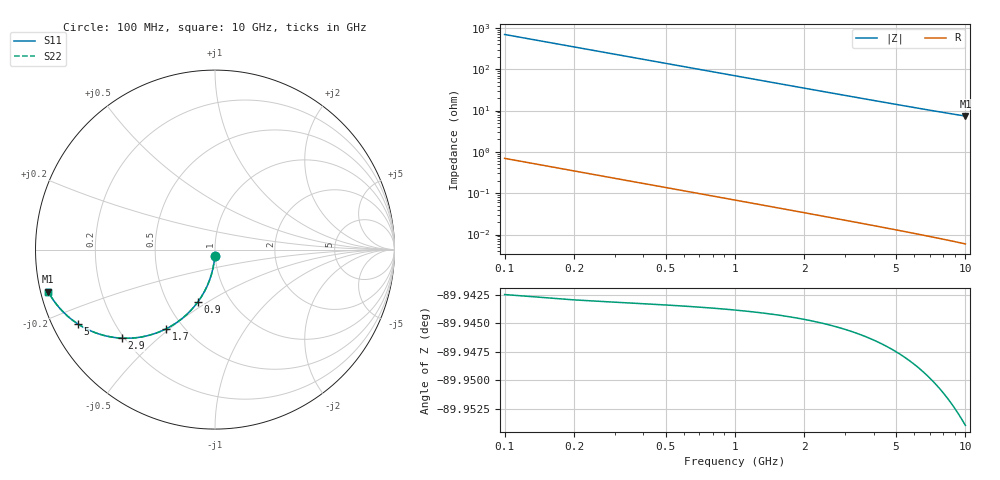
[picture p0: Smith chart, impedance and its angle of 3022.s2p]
# Hz S RI R 50.00
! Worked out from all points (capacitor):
!   100 points, 100 MHz to 10 GHz, reference 50 ohm
!   read as one part in shunt: C = 2.29 pF near 100 MHz
!   lowest |Z| = 7.36 ohm at 10 GHz (marker M1)
!   S11 on the Smith chart (normalised r, x): 100 MHz: 0.99, -0.07; 900 MHz: 0.71, -0.45; 1.7 GHz: 0.40, -0.49; 2.9 GHz: 0.19, -0.39; 5 GHz: 0.07, -0.25; 10 GHz: 0.02, -0.12
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1e8  -0.00128 -0.0357  0.9986 -0.0361  0.9986 -0.0361  -0.00128 -0.0357
2e8  -0.00516 -0.0711  0.9947 -0.0719  0.9947 -0.0719  -0.00516 -0.0711
3e8  -0.0116 -0.106  0.9884 -0.1072  0.9884 -0.1072  -0.0116 -0.106
4e8  -0.0203 -0.1401  0.9796 -0.1416  0.9796 -0.1416  -0.0203 -0.1401
5e8  -0.0314 -0.1731  0.9685 -0.175  0.9685 -0.175  -0.0314 -0.1731
6e8  -0.0446 -0.2048  0.9553 -0.2072  0.9553 -0.2072  -0.0446 -0.2048
7e8  -0.0597 -0.2351  0.9402 -0.2379  0.9402 -0.2379  -0.0597 -0.2351
9e8  -0.0949 -0.2909  0.905 -0.2944  0.905 -0.2944  -0.0949 -0.2909
1.1e9  -0.1354 -0.3395  0.8645 -0.3438  0.8645 -0.3438  -0.1354 -0.3395
1.3e9  -0.1794 -0.3807  0.8205 -0.3858  0.8205 -0.3858  -0.1794 -0.3807
1.7e9  -0.272 -0.4412  0.7279 -0.4479  0.7279 -0.4479  -0.272 -0.4412
1.8e9  -0.2952 -0.4521  0.7047 -0.4592  0.7047 -0.4592  -0.2952 -0.4521
2.3e9  -0.406 -0.4861  0.5938 -0.4951  0.5938 -0.4951  -0.406 -0.4861
2.9e9  -0.5207 -0.4933  0.4791 -0.5048  0.4791 -0.5048  -0.5207 -0.4933
3.4e9  -0.599 -0.4828  0.4008 -0.4963  0.4008 -0.4963  -0.599 -0.4828
4.2e9  -0.6952 -0.4514  0.3045 -0.4681  0.3045 -0.4681  -0.6952 -0.4514
5e9  -0.764 -0.414  0.2357 -0.434  0.2357 -0.434  -0.764 -0.414
5.1e9  -0.7711 -0.4093  0.2286 -0.4297  0.2286 -0.4297  -0.7711 -0.4093
5.9e9  -0.8187 -0.3727  0.1809 -0.3964  0.1809 -0.3964  -0.8187 -0.3727
6.7e9  -0.8538 -0.339  0.1457 -0.3661  0.1457 -0.3661  -0.8538 -0.339
8.4e9  -0.9023 -0.2786  0.097 -0.3131  0.097 -0.3131  -0.9023 -0.2786
1e10  -0.9295 -0.2338  0.0695 -0.2753  0.0695 -0.2753  -0.9295 -0.2338
